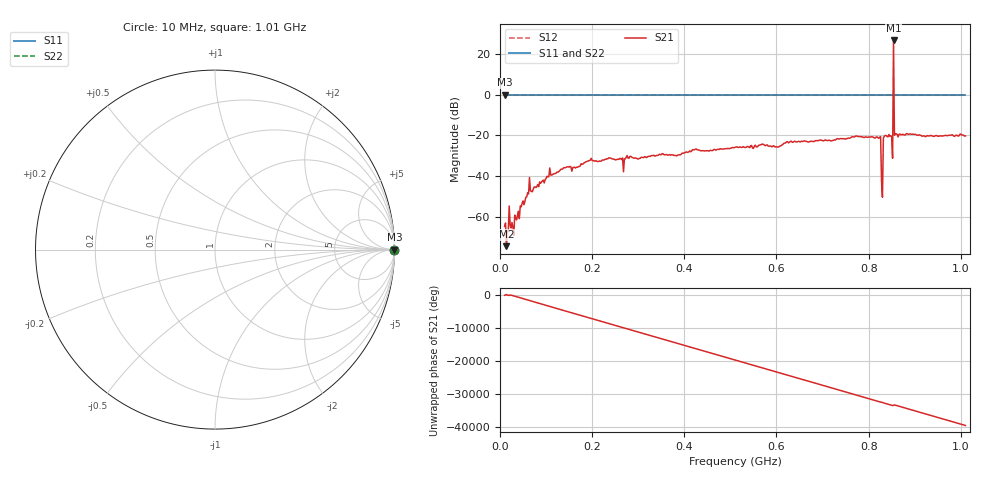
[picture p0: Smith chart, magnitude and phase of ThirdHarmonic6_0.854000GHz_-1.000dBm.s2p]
! 8/16/2025 4:15:54 AM
! C:\ANRITSUVNA\TEMP\TEMP.S2P
! CHANNEL.1
! TR.MEASUREMENT
! RAW.DATA
! RF.CORRECTION.OFF
! AVERAGING.OFF
! IF.BANDWIDTH: 5KHZ
! SWEEPTYPE:  FREQ.SWEEP(Linear)
! Reference Plane Port Info
! PORT:  PORT1  PORT2
! DISTANCE:  0  m  0  m
! TIME:  0  s  0  s
! PHASE.OFFSET:  0  deg.  0  deg.
! LOSS:  0  dB  0  dB
! REF.LOSS:  0  dB  0  dB
! REF.FREQ:  0  Hz  0  Hz
! Power Info
! POWER:  -20  dBm  -20  dBm
! EFF.POWER:  -20  dBm  -20  dBm
! SOURCE.ATTEN:  0  dB  0  dB
! TEST.ATTEN:  0  dB  0  dB
# GHZ S RI R 50.0
! FREQ.GHZ  S11RE  S11IM  S21RE  S21IM  S12RE  S12IM  S22RE  S22IM
!; PortSelection: Port_12
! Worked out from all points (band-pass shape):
!   501 points, 10 MHz to 1.01 GHz, reference 50 ohm
!   highest |S21| = 26.56 dB at 854 MHz (marker M1); lowest = -74.4 dB at 14 MHz (marker M2)
!   |S21| within 3 dB of the highest: 853.8962 MHz to 854.1291 MHz (232.9 kHz wide, 0.0273 % of centre)
!   lowest |S11| = 0.0 dB at 10 MHz (marker M3)
!   |S11| at or under -10 dB: nowhere
!   |S22| runs from 0.0 to 0.0 dB; largest |S21 - S12| = 21
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0.01  1 0  4.04e-05 -0.000581  1 0  1 0
0.014  1 0  -0.000133 0.000138  1 0  1 0
0.022  1 0  0.000548 0.000323  1 0  1 0
0.032  1 0  0.00107 -0.000271  1 0  1 0
0.064  1 0  -0.0072 0.00584  1 0  1 0
0.106  1 0  -0.00713 -0.00657  1 0  1 0
0.178  1 0  -0.0193 -0.0026  1 0  1 0
0.344  1 0  0.0302 -0.0134  1 0  1 0
0.51  1 0  -0.0391 0.0327  1 0  1 0
0.678  1 0  -0.0598 -0.0383  1 0  1 0
0.822  1 0  -0.0806 0.0263  1 0  1 0
0.826  1 0  0.0926 0.0012  1 0  1 0
0.828  1 0  0.00697 -0.00271  1 0  1 0
0.832  1 0  -0.0465 0.0716  1 0  1 0
0.836  1 0  0.0756 -0.0649  1 0  1 0
0.844  1 0  0.1039 -0.0158  1 0  1 0
0.848  1 0  -0.0948 -0.0221  1 0  1 0
0.85  1 0  -0.0357 0.0872  1 0  1 0
0.854  1 0  1.902 21.18  1 0  1 0
0.858  1 0  -0.0972 0.0522  1 0  1 0
0.86  1 0  0.0441 0.0998  1 0  1 0
1.01  1 0  -0.0642 0.0729  1 0  1 0
